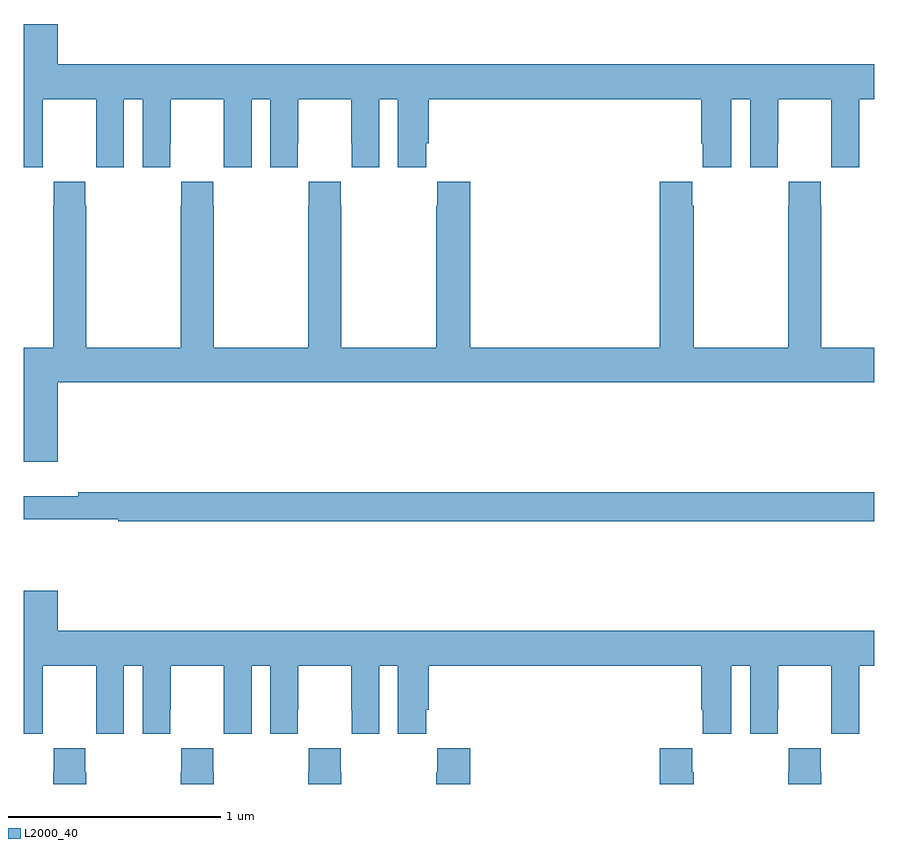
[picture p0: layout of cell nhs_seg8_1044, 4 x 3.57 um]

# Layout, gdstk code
import gdstk
lib = gdstk.Library(unit=1e-6, precision=1e-09)
def P(c, l, *ps):  # polygons
    for p in ps: c.add(gdstk.Polygon(p, *l))
L2000_40 = (2000, 40)

nhs_seg8_1044 = lib.new_cell('nhs_seg8_1044')
P(nhs_seg8_1044, L2000_40, [(177.09,1162.912),(177.091,1162.912),(177.091,1163.12),(177.341,1163.12),(177.341,1162.912),(177.342,1162.912),(177.342,1162.8),(177.472,1162.8),(177.472,1163.12),(177.56,1163.12),(177.56,1162.8),(177.69,1162.8),(177.69,1162.912),(177.691,1162.912),(177.691,1163.12),(177.941,1163.12),(177.941,1162.912),(177.942,1162.912),(177.942,1162.8),(178.072,1162.8),(178.072,1163.12),(178.16,1163.12),(178.16,1162.8),(178.29,1162.8),(178.29,1162.912),(178.291,1162.912),(178.291,1163.12),(178.541,1163.12),(178.541,1162.912),(178.542,1162.912),(178.542,1162.8),(178.672,1162.8),(178.672,1163.12),(178.76,1163.12),(178.76,1162.8),(178.894,1162.8),(178.894,1162.912),(178.904,1162.912),(178.904,1163.12),(180.185,1163.12),(180.185,1162.912),(180.194,1162.912),(180.194,1162.8),(180.328,1162.8),(180.328,1163.12),(180.416,1163.12),(180.416,1162.8),(180.546,1162.8),(180.546,1162.912),(180.547,1162.912),(180.547,1163.12),(180.797,1163.12),(180.797,1162.912),(180.798,1162.912),(180.798,1162.8),(180.928,1162.8),(180.928,1163.12),(181,1163.12),(181,1163.284),(177.16,1163.284),(177.16,1163.473),(177,1163.473),(177,1162.8),(177.09,1162.8)],
  [(177.16,1161.788),(181,1161.788),(181,1161.952),(180.75,1161.952),(180.75,1162.619),(180.747,1162.619),(180.747,1162.732),(180.597,1162.732),(180.597,1162.619),(180.595,1162.619),(180.595,1161.952),(180.15,1161.952),(180.15,1162.619),(180.143,1162.619),(180.143,1162.732),(179.99,1162.732),(179.99,1161.952),(179.099,1161.952),(179.099,1162.732),(178.945,1162.732),(178.945,1162.619),(178.939,1162.619),(178.939,1161.952),(178.494,1161.952),(178.494,1162.619),(178.491,1162.619),(178.491,1162.732),(178.341,1162.732),(178.341,1162.619),(178.339,1162.619),(178.339,1161.952),(177.894,1161.952),(177.894,1162.619),(177.891,1162.619),(177.891,1162.732),(177.741,1162.732),(177.741,1162.619),(177.739,1162.619),(177.739,1161.952),(177.294,1161.952),(177.294,1162.619),(177.291,1162.619),(177.291,1162.732),(177.141,1162.732),(177.141,1162.619),(177.139,1162.619),(177.139,1161.952),(177,1161.952),(177,1161.414),(177.16,1161.414)],
  [(181,1161.272),(177.256,1161.272),(177.256,1161.253),(177,1161.253),(177,1161.144),(177.445,1161.144),(177.445,1161.136),(181,1161.136)],
  [(177.09,1160.248),(177.091,1160.248),(177.091,1160.456),(177.341,1160.456),(177.341,1160.248),(177.342,1160.248),(177.342,1160.136),(177.472,1160.136),(177.472,1160.456),(177.56,1160.456),(177.56,1160.136),(177.69,1160.136),(177.69,1160.248),(177.691,1160.248),(177.691,1160.456),(177.941,1160.456),(177.941,1160.248),(177.942,1160.248),(177.942,1160.136),(178.072,1160.136),(178.072,1160.456),(178.16,1160.456),(178.16,1160.136),(178.29,1160.136),(178.29,1160.248),(178.291,1160.248),(178.291,1160.456),(178.541,1160.456),(178.541,1160.248),(178.542,1160.248),(178.542,1160.136),(178.672,1160.136),(178.672,1160.456),(178.76,1160.456),(178.76,1160.136),(178.894,1160.136),(178.894,1160.248),(178.904,1160.248),(178.904,1160.456),(180.185,1160.456),(180.185,1160.248),(180.194,1160.248),(180.194,1160.136),(180.328,1160.136),(180.328,1160.456),(180.416,1160.456),(180.416,1160.136),(180.546,1160.136),(180.546,1160.248),(180.547,1160.248),(180.547,1160.456),(180.797,1160.456),(180.797,1160.248),(180.798,1160.248),(180.798,1160.136),(180.928,1160.136),(180.928,1160.456),(181,1160.456),(181,1160.62),(177.16,1160.62),(177.16,1160.809),(177,1160.809),(177,1160.136),(177.09,1160.136)],
  [(177.294,1159.955),(177.291,1159.955),(177.291,1160.068),(177.141,1160.068),(177.141,1159.955),(177.139,1159.955),(177.139,1159.9),(177.294,1159.9)],
  [(180.75,1159.955),(180.747,1159.955),(180.747,1160.068),(180.597,1160.068),(180.597,1159.955),(180.595,1159.955),(180.595,1159.9),(180.75,1159.9)],
  [(180.15,1159.955),(180.143,1159.955),(180.143,1160.068),(179.99,1160.068),(179.99,1159.9),(180.15,1159.9)],
  [(179.099,1160.068),(178.945,1160.068),(178.945,1159.955),(178.939,1159.955),(178.939,1159.9),(179.099,1159.9)],
  [(178.494,1159.955),(178.491,1159.955),(178.491,1160.068),(178.341,1160.068),(178.341,1159.955),(178.339,1159.955),(178.339,1159.9),(178.494,1159.9)],
  [(177.894,1159.955),(177.891,1159.955),(177.891,1160.068),(177.741,1160.068),(177.741,1159.955),(177.739,1159.955),(177.739,1159.9),(177.894,1159.9)])

lib.write_gds('nhs_seg8_1044.gds')
